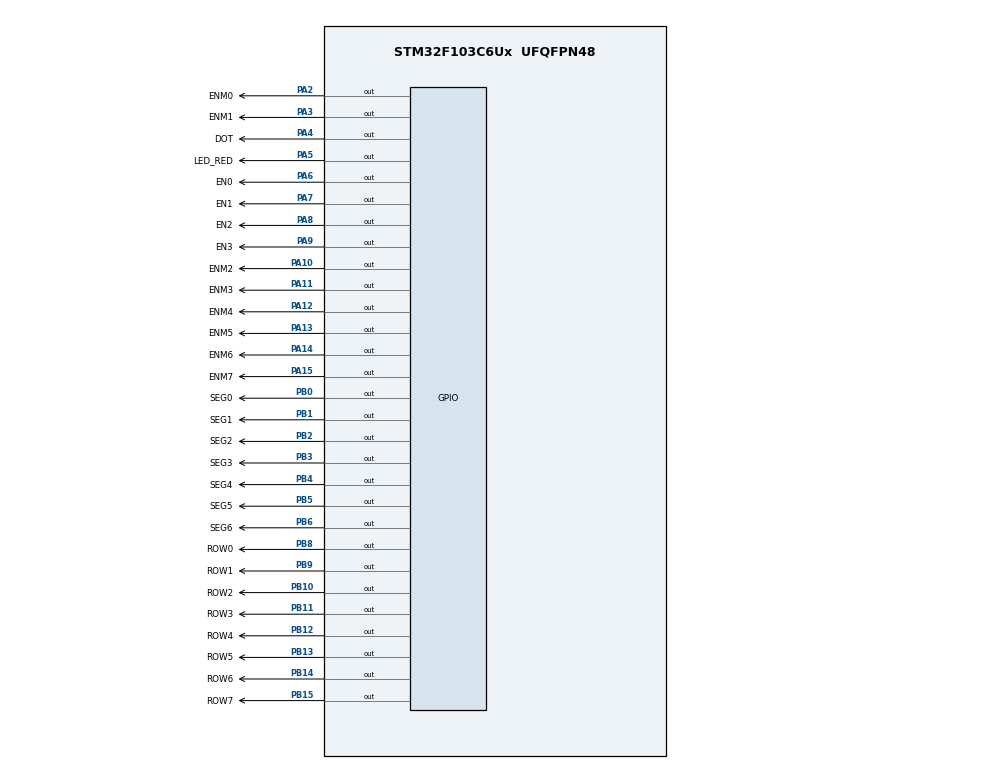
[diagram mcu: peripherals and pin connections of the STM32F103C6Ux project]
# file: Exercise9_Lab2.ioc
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Mcu.Family=STM32F1
Mcu.Name=STM32F103C6Ux
Mcu.Package=UFQFPN48
NVIC.PriorityGroup=NVIC_PRIORITYGROUP_4
NVIC.TIM2_IRQn=true\:0\:0\:false\:false\:true\:true\:true
PA10.GPIO_Label=ENM2
PA10.Signal=GPIO_Output
PA11.GPIO_Label=ENM3
PA11.Signal=GPIO_Output
PA12.GPIO_Label=ENM4
PA12.Signal=GPIO_Output
PA13.GPIO_Label=ENM5
PA13.Signal=GPIO_Output
PA14.GPIO_Label=ENM6
PA14.Signal=GPIO_Output
PA15.GPIO_Label=ENM7
PA15.Signal=GPIO_Output
PA2.GPIO_Label=ENM0
PA2.Signal=GPIO_Output
PA3.GPIO_Label=ENM1
PA3.Signal=GPIO_Output
PA4.GPIO_Label=DOT
PA4.Signal=GPIO_Output
PA5.GPIO_Label=LED_RED
PA5.Signal=GPIO_Output
PA6.GPIO_Label=EN0
PA6.Signal=GPIO_Output
PA7.GPIO_Label=EN1
PA7.Signal=GPIO_Output
PA8.GPIO_Label=EN2
PA8.Signal=GPIO_Output
PA9.GPIO_Label=EN3
PA9.Signal=GPIO_Output
PB0.GPIO_Label=SEG0
PB0.Signal=GPIO_Output
PB1.GPIO_Label=SEG1
PB1.Signal=GPIO_Output
PB10.GPIO_Label=ROW2
PB10.Signal=GPIO_Output
PB11.GPIO_Label=ROW3
PB11.Signal=GPIO_Output
PB12.GPIO_Label=ROW4
PB12.Signal=GPIO_Output
PB13.GPIO_Label=ROW5
PB13.Signal=GPIO_Output
PB14.GPIO_Label=ROW6
PB14.Signal=GPIO_Output
PB15.GPIO_Label=ROW7
PB15.Signal=GPIO_Output
PB2.GPIO_Label=SEG2
PB2.Signal=GPIO_Output
PB3.GPIO_Label=SEG3
PB3.Signal=GPIO_Output
PB4.GPIO_Label=SEG4
PB4.Signal=GPIO_Output
PB5.GPIO_Label=SEG5
PB5.Signal=GPIO_Output
PB6.GPIO_Label=SEG6
PB6.Signal=GPIO_Output
PB8.GPIO_Label=ROW0
PB8.Signal=GPIO_Output
PB9.GPIO_Label=ROW1
PB9.Signal=GPIO_Output
ProjectManager.HeapSize=0x200
ProjectManager.StackSize=0x400
ProjectManager.TargetToolchain=STM32CubeIDE
RCC.APB1Freq_Value=8000000
RCC.APB2Freq_Value=8000000
TIM2.Period=9
TIM2.Prescaler=7999
VP_SYS_VS_ND.Mode=No_Debug
VP_TIM2_VS_ClockSourceINT.Mode=Internal
board=custom

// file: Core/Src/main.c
/* USER CODE BEGIN Header */
/**
  ******************************************************************************
  * @file           : main.c
  * @brief          : Main program body
  ******************************************************************************
  * @attention
  *
  * <h2><center>&copy; Copyright (c) 2025 STMicroelectronics.
  * All rights reserved.</center></h2>
  *
  * This software component is licensed by ST under BSD 3-Clause license,
  * the "License"; You may not use this file except in compliance with the
  * License. You may obtain a copy of the License at:
  *                        opensource.org/licenses/BSD-3-Clause
  *
  ******************************************************************************
  */
/* USER CODE END Header */
#include "main.h"
#include "software_timer.h"

TIM_HandleTypeDef htim2;

void SystemClock_Config(void);
static void MX_GPIO_Init(void);
static void MX_TIM2_Init(void);
void updateClockBuffer(void);
void update7SEG(int);
void updateLEDMatrix(int);
void shiftRightMatrixBuffer(void);

int hour  = 15;
int minute = 8;
int second =50;
const int MAX_LED =4;
int index_led = 0;
int led_buffer[4] = {2, 3, 0, 9};
const int MAX_LED_MATRIX = 8;
int index_led_matrix = 0;
uint8_t matrixbuffer[8] = {0x00, 0xFC, 0xFE, 0x33, 0x33, 0xFE, 0xFC, 0x00}; // display character A
int main(void)
{

  /* MCU Configuration--------------------------------------------------------*/

  /* Reset of all peripherals, Initializes the Flash interface and the Systick. */
  HAL_Init();

  /* Configure the system clock */
  SystemClock_Config();

  /* Initialize all configured peripherals */
  MX_GPIO_Init();
  MX_TIM2_Init();
  /* USER CODE BEGIN 2 */
  HAL_TIM_Base_Start_IT(&htim2);
  /* USER CODE END 2 */

  /* Infinite loop */
  /* USER CODE BEGIN WHILE */
  setTimer1(100);
  setTimer2(25);
  setTimer3(1);
  setTimer4(200);
  while (1)
   {
     /* USER CODE END WHILE */
 	  if(timer1_flag==1){
 		  setTimer1(100);
 		  second++;
 		  if(second >=60){
 			  second =0;
 			  minute ++;
 		  }
 		  if(minute >=60){
 			  minute =0;
 			  hour++;
 		  }
 		  if(hour>=24){
 			  hour=0;
 		  }
 		  updateClockBuffer();
 		  HAL_GPIO_TogglePin(DOT_GPIO_Port, DOT_Pin);
 		  HAL_GPIO_TogglePin(LED_RED_GPIO_Port, LED_RED_Pin);
 	  }
 	  if(timer2_flag ==1){
 		  setTimer2(25);
 		  update7SEG(index_led);
 		  index_led= (index_led +1)% MAX_LED;
 	  }
 	  if(timer3_flag ==1){
 		 setTimer3(1);
 		 updateLEDMatrix(index_led_matrix);
 		 index_led_matrix = (index_led_matrix + 1) % MAX_LED_MATRIX;
 	  }
 	 if (timer4_flag == 1) {
 		 setTimer4(200);
 		 shiftRightMatrixBuffer();
 	 }
   }
}

void SystemClock_Config(void)
{
  RCC_OscInitTypeDef RCC_OscInitStruct = {0};
  RCC_ClkInitTypeDef RCC_ClkInitStruct = {0};

  /** Initializes the RCC Oscillators according to the specified parameters
  * in the RCC_OscInitTypeDef structure.
  */
  RCC_OscInitStruct.OscillatorType = RCC_OSCILLATORTYPE_HSI;
  RCC_OscInitStruct.HSIState = RCC_HSI_ON;
  RCC_OscInitStruct.HSICalibrationValue = RCC_HSICALIBRATION_DEFAULT;
  RCC_OscInitStruct.PLL.PLLState = RCC_PLL_NONE;
  if (HAL_RCC_OscConfig(&RCC_OscInitStruct) != HAL_OK)
  {
    Error_Handler();
  }
  /** Initializes the CPU, AHB and APB buses clocks
  */
  RCC_ClkInitStruct.ClockType = RCC_CLOCKTYPE_HCLK|RCC_CLOCKTYPE_SYSCLK
                              |RCC_CLOCKTYPE_PCLK1|RCC_CLOCKTYPE_PCLK2;
  RCC_ClkInitStruct.SYSCLKSource = RCC_SYSCLKSOURCE_HSI;
  RCC_ClkInitStruct.AHBCLKDivider = RCC_SYSCLK_DIV1;
  RCC_ClkInitStruct.APB1CLKDivider = RCC_HCLK_DIV1;
  RCC_ClkInitStruct.APB2CLKDivider = RCC_HCLK_DIV1;

  if (HAL_RCC_ClockConfig(&RCC_ClkInitStruct, FLASH_LATENCY_0) != HAL_OK)
  {
    Error_Handler();
  }
}

static void MX_TIM2_Init(void)
{

  TIM_ClockConfigTypeDef sClockSourceConfig = {0};
  TIM_MasterConfigTypeDef sMasterConfig = {0};

  htim2.Instance = TIM2;
  htim2.Init.Prescaler = 7999;
  htim2.Init.CounterMode = TIM_COUNTERMODE_UP;
  htim2.Init.Period = 9;
  htim2.Init.ClockDivision = TIM_CLOCKDIVISION_DIV1;
  htim2.Init.AutoReloadPreload = TIM_AUTORELOAD_PRELOAD_DISABLE;
  if (HAL_TIM_Base_Init(&htim2) != HAL_OK)
  {
    Error_Handler();
  }
  sClockSourceConfig.ClockSource = TIM_CLOCKSOURCE_INTERNAL;
  if (HAL_TIM_ConfigClockSource(&htim2, &sClockSourceConfig) != HAL_OK)
  {
    Error_Handler();
  }
  sMasterConfig.MasterOutputTrigger = TIM_TRGO_RESET;
  sMasterConfig.MasterSlaveMode = TIM_MASTERSLAVEMODE_DISABLE;
  if (HAL_TIMEx_MasterConfigSynchronization(&htim2, &sMasterConfig) != HAL_OK)
  {
    Error_Handler();
  }

}

static void MX_GPIO_Init(void)
{
  GPIO_InitTypeDef GPIO_InitStruct = {0};

  /* GPIO Ports Clock Enable */
  __HAL_RCC_GPIOA_CLK_ENABLE();
  __HAL_RCC_GPIOB_CLK_ENABLE();

  /*Configure GPIO pin Output Level */
  HAL_GPIO_WritePin(GPIOA, ENM0_Pin|ENM1_Pin|DOT_Pin|LED_RED_Pin
                          |EN0_Pin|EN1_Pin|EN2_Pin|EN3_Pin
                          |ENM2_Pin|ENM3_Pin|ENM4_Pin|ENM5_Pin
                          |ENM6_Pin|ENM7_Pin, GPIO_PIN_RESET);

  /*Configure GPIO pin Output Level */
  HAL_GPIO_WritePin(GPIOB, SEG0_Pin|SEG1_Pin|SEG2_Pin|ROW2_Pin
                          |ROW3_Pin|ROW4_Pin|ROW5_Pin|ROW6_Pin
                          |ROW7_Pin|SEG3_Pin|SEG4_Pin|SEG5_Pin
                          |SEG6_Pin|ROW0_Pin|ROW1_Pin, GPIO_PIN_RESET);

  /*Configure GPIO pins : EM0_Pin EM1_Pin DOT_Pin LED_RED_Pin
                           EN0_Pin EN1_Pin EN2_Pin EN3_Pin
                           EM2_Pin EM3_Pin EM4_Pin EM5_Pin
                           EM6_Pin EM7_Pin */
  GPIO_InitStruct.Pin = ENM0_Pin|ENM1_Pin|DOT_Pin|LED_RED_Pin
                          |EN0_Pin|EN1_Pin|EN2_Pin|EN3_Pin
                          |ENM2_Pin|ENM3_Pin|ENM4_Pin|ENM5_Pin
                          |ENM6_Pin|ENM7_Pin;
  GPIO_InitStruct.Mode = GPIO_MODE_OUTPUT_PP;
  GPIO_InitStruct.Pull = GPIO_NOPULL;
  GPIO_InitStruct.Speed = GPIO_SPEED_FREQ_LOW;
  HAL_GPIO_Init(GPIOA, &GPIO_InitStruct);

  /*Configure GPIO pins : SEG0_Pin SEG1_Pin SEG2_Pin ROW2_Pin
                           ROW3_Pin ROW4_Pin ROW5_Pin ROW6_Pin
                           ROW7_Pin SEG3_Pin SEG4_Pin SEG5_Pin
                           SEG6_Pin ROW0_Pin ROW1_Pin */
  GPIO_InitStruct.Pin = SEG0_Pin|SEG1_Pin|SEG2_Pin|ROW2_Pin
                          |ROW3_Pin|ROW4_Pin|ROW5_Pin|ROW6_Pin
                          |ROW7_Pin|SEG3_Pin|SEG4_Pin|SEG5_Pin
                          |SEG6_Pin|ROW0_Pin|ROW1_Pin;
  GPIO_InitStruct.Mode = GPIO_MODE_OUTPUT_PP;
  GPIO_InitStruct.Pull = GPIO_NOPULL;
  GPIO_InitStruct.Speed = GPIO_SPEED_FREQ_LOW;
  HAL_GPIO_Init(GPIOB, &GPIO_InitStruct);

}

/* USER CODE BEGIN 4 */
void updateClockBuffer(){
	led_buffer[0] = hour / 10;
    led_buffer[1] = hour % 10;
    led_buffer[2] = minute / 10;
    led_buffer[3] = minute % 10;
  }
uint8_t led7seg[10] = {
           0xC0, // 0
           0xF9, // 1
           0xA4, // 2
           0xB0, // 3
           0x99, // 4
           0x92, // 5
           0x82, // 6
           0xF8, // 7
           0x80, // 8
           0x90  // 9
       };

   void display7SEG(int num) {
           if (num < 0 || num > 9) return;
           uint8_t pattern = led7seg[num];

           HAL_GPIO_WritePin(SEG0_GPIO_Port, SEG0_Pin, (pattern >> 0) & 0x01);
           HAL_GPIO_WritePin(SEG1_GPIO_Port, SEG1_Pin, (pattern >> 1) & 0x01);
           HAL_GPIO_WritePin(SEG2_GPIO_Port, SEG2_Pin, (pattern >> 2) & 0x01);
           HAL_GPIO_WritePin(SEG3_GPIO_Port, SEG3_Pin, (pattern >> 3) & 0x01);
           HAL_GPIO_WritePin(SEG4_GPIO_Port, SEG4_Pin, (pattern >> 4) & 0x01);
           HAL_GPIO_WritePin(SEG5_GPIO_Port, SEG5_Pin, (pattern >> 5) & 0x01);
           HAL_GPIO_WritePin(SEG6_GPIO_Port, SEG6_Pin, (pattern >> 6) & 0x01);
       }
   void update7SEG(int index){
	   switch(index){
	   case 0:
		   HAL_GPIO_WritePin(EN1_GPIO_Port, EN1_Pin, GPIO_PIN_SET);
		   HAL_GPIO_WritePin(EN2_GPIO_Port, EN2_Pin, GPIO_PIN_SET);
		   HAL_GPIO_WritePin(EN3_GPIO_Port, EN3_Pin, GPIO_PIN_SET);
		   HAL_GPIO_WritePin(EN0_GPIO_Port, EN0_Pin, GPIO_PIN_RESET);
		   display7SEG(led_buffer[index]);
		   break;

	   case 1:
		   HAL_GPIO_WritePin(EN1_GPIO_Port, EN1_Pin, GPIO_PIN_RESET);
		   HAL_GPIO_WritePin(EN0_GPIO_Port, EN0_Pin, GPIO_PIN_SET);
		   HAL_GPIO_WritePin(EN2_GPIO_Port, EN2_Pin, GPIO_PIN_SET);
		   HAL_GPIO_WritePin(EN3_GPIO_Port, EN3_Pin, GPIO_PIN_SET);
		   display7SEG(led_buffer[index]);
		   break;

	   case 2:
	      HAL_GPIO_WritePin(EN2_GPIO_Port, EN2_Pin, GPIO_PIN_RESET);
	      HAL_GPIO_WritePin(EN0_GPIO_Port, EN0_Pin, GPIO_PIN_SET);
	      HAL_GPIO_WritePin(EN1_GPIO_Port, EN1_Pin, GPIO_PIN_SET);
	      HAL_GPIO_WritePin(EN3_GPIO_Port, EN3_Pin, GPIO_PIN_SET);
	      display7SEG(led_buffer[index]);
	      break;

	   case 3:
	      HAL_GPIO_WritePin(EN3_GPIO_Port, EN3_Pin, GPIO_PIN_RESET);
	      HAL_GPIO_WritePin(EN0_GPIO_Port, EN0_Pin, GPIO_PIN_SET);
	      HAL_GPIO_WritePin(EN1_GPIO_Port, EN1_Pin, GPIO_PIN_SET);
	      HAL_GPIO_WritePin(EN2_GPIO_Port, EN2_Pin, GPIO_PIN_SET);
	      display7SEG(led_buffer[index]);
	      break;

	   default:
	      break;
   }
   }

   void HAL_TIM_PeriodElapsedCallback(TIM_HandleTypeDef *htim){
           timerRun();
   }

   void updateLEDMatrix(int index) {
       HAL_GPIO_WritePin(GPIOA, ENM0_Pin|ENM1_Pin|ENM2_Pin|ENM3_Pin|
                                ENM4_Pin|ENM5_Pin|ENM6_Pin|ENM7_Pin, 1);

       switch(index) {
           case 0:
               HAL_GPIO_WritePin(ENM0_GPIO_Port, ENM0_Pin, 0);
               break;
           case 1:
               HAL_GPIO_WritePin(ENM1_GPIO_Port, ENM1_Pin, 0);
               break;
           case 2:
               HAL_GPIO_WritePin(ENM2_GPIO_Port, ENM2_Pin, 0);
               break;
           case 3:
               HAL_GPIO_WritePin(ENM3_GPIO_Port, ENM3_Pin, 0);
               break;
           case 4:
               HAL_GPIO_WritePin(ENM4_GPIO_Port, ENM4_Pin, 0);
               break;
           case 5:
               HAL_GPIO_WritePin(ENM5_GPIO_Port, ENM5_Pin, 0);
               break;
           case 6:
               HAL_GPIO_WritePin(ENM6_GPIO_Port, ENM6_Pin, 0);
               break;
           case 7:
               HAL_GPIO_WritePin(ENM7_GPIO_Port, ENM7_Pin, 0);
               break;
           default:
               break;
       }

       HAL_GPIO_WritePin(GPIOB, 0xff << 8, 1);
       HAL_GPIO_WritePin(GPIOB, matrixbuffer[index] << 8, 0);
   }
   void shiftRightMatrixBuffer() {
       uint8_t lastRow = matrixbuffer[7];
       for(int i = 7; i > 0; i--) {
           matrixbuffer[i] = matrixbuffer[i-1];
       }
       matrixbuffer[0] = lastRow;
   }

/* USER CODE END 4 */

void Error_Handler(void)
{
  __disable_irq();
  while (1)
  {
  }
}

/************************ (C) COPYRIGHT STMicroelectronics *****END OF FILE****/
